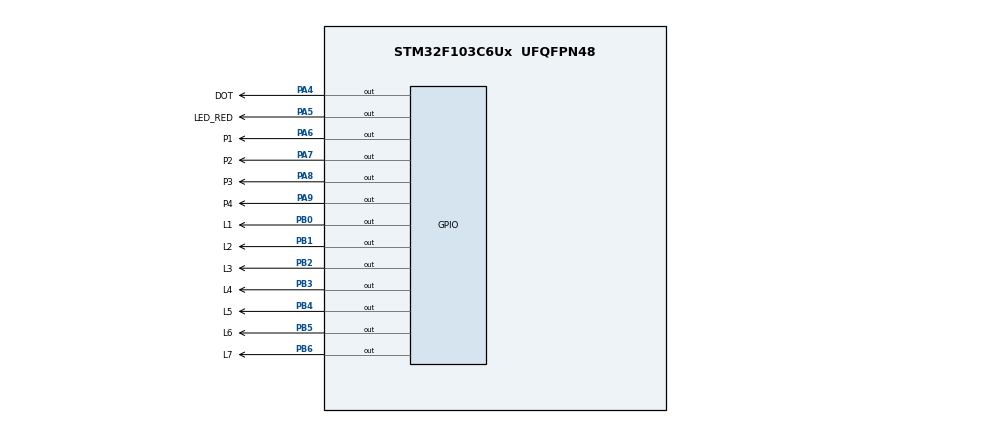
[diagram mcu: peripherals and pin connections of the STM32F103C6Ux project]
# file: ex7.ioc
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Mcu.Family=STM32F1
Mcu.Name=STM32F103C6Ux
Mcu.Package=UFQFPN48
NVIC.PriorityGroup=NVIC_PRIORITYGROUP_4
NVIC.TIM2_IRQn=true\:0\:0\:false\:false\:true\:true\:true
PA4.GPIO_Label=DOT
PA4.Signal=GPIO_Output
PA5.GPIO_Label=LED_RED
PA5.Signal=GPIO_Output
PA6.GPIO_Label=P1
PA6.Signal=GPIO_Output
PA7.GPIO_Label=P2
PA7.Signal=GPIO_Output
PA8.GPIO_Label=P3
PA8.Signal=GPIO_Output
PA9.GPIO_Label=P4
PA9.Signal=GPIO_Output
PB0.GPIO_Label=L1
PB0.Signal=GPIO_Output
PB1.GPIO_Label=L2
PB1.Signal=GPIO_Output
PB2.GPIO_Label=L3
PB2.Signal=GPIO_Output
PB3.GPIO_Label=L4
PB3.Signal=GPIO_Output
PB4.GPIO_Label=L5
PB4.Signal=GPIO_Output
PB5.GPIO_Label=L6
PB5.Signal=GPIO_Output
PB6.GPIO_Label=L7
PB6.Signal=GPIO_Output
ProjectManager.HeapSize=0x200
ProjectManager.StackSize=0x400
ProjectManager.TargetToolchain=STM32CubeIDE
RCC.APB1Freq_Value=8000000
RCC.APB2Freq_Value=8000000
TIM2.Period=9
TIM2.Prescaler=7999
VP_SYS_VS_ND.Mode=No_Debug
VP_TIM2_VS_ClockSourceINT.Mode=Internal
board=custom

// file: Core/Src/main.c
/* USER CODE BEGIN Header */
/**
  ******************************************************************************
  * @file           : main.c
  * @brief          : Main program body
  ******************************************************************************
  * @attention
  *
  * <h2><center>&copy; Copyright (c) 2022 STMicroelectronics.
  * All rights reserved.</center></h2>
  *
  * This software component is licensed by ST under BSD 3-Clause license,
  * the "License"; You may not use this file except in compliance with the
  * License. You may obtain a copy of the License at:
  *                        opensource.org/licenses/BSD-3-Clause
  *
  ******************************************************************************
  */
/* USER CODE END Header */
#include "main.h"

/* USER CODE BEGIN Includes */
#include "software_timer.h"
/* USER CODE END Includes */

TIM_HandleTypeDef htim2;

void SystemClock_Config(void);
static void MX_GPIO_Init(void);
static void MX_TIM2_Init(void);

/* USER CODE BEGIN 0 */
/* USER CODE BEGIN 0 */
void display7SEG(int num){
  	  HAL_GPIO_WritePin( L1_GPIO_Port , L1_Pin ,GPIO_PIN_SET );
  	  HAL_GPIO_WritePin( L2_GPIO_Port , L2_Pin ,GPIO_PIN_SET );
  	  HAL_GPIO_WritePin( L3_GPIO_Port , L3_Pin ,GPIO_PIN_SET );
  	  HAL_GPIO_WritePin( L4_GPIO_Port , L4_Pin ,GPIO_PIN_SET );
  	  HAL_GPIO_WritePin( L5_GPIO_Port , L5_Pin ,GPIO_PIN_SET );
  	  HAL_GPIO_WritePin( L6_GPIO_Port , L6_Pin ,GPIO_PIN_SET );
  	  HAL_GPIO_WritePin( L7_GPIO_Port , L7_Pin ,GPIO_PIN_SET );
  	  if(num<=0){
  		  HAL_GPIO_WritePin( L1_GPIO_Port , L1_Pin ,GPIO_PIN_RESET );
  		  HAL_GPIO_WritePin( L2_GPIO_Port , L2_Pin ,GPIO_PIN_RESET );
  		  HAL_GPIO_WritePin( L3_GPIO_Port , L3_Pin ,GPIO_PIN_RESET );
  		  HAL_GPIO_WritePin( L4_GPIO_Port , L4_Pin ,GPIO_PIN_RESET );
  		  HAL_GPIO_WritePin( L5_GPIO_Port , L5_Pin ,GPIO_PIN_RESET );
  		  HAL_GPIO_WritePin( L6_GPIO_Port , L6_Pin ,GPIO_PIN_RESET );
  	  }
  	  else if(num==1){
  		  HAL_GPIO_WritePin( L2_GPIO_Port , L2_Pin ,GPIO_PIN_RESET );
  		  HAL_GPIO_WritePin( L3_GPIO_Port , L3_Pin ,GPIO_PIN_RESET );
  	  }
  	  else if(num==2){
  		  HAL_GPIO_WritePin( L1_GPIO_Port , L1_Pin ,GPIO_PIN_RESET );
  		  HAL_GPIO_WritePin( L2_GPIO_Port , L2_Pin ,GPIO_PIN_RESET );
  		  HAL_GPIO_WritePin( L4_GPIO_Port , L4_Pin ,GPIO_PIN_RESET );
  		  HAL_GPIO_WritePin( L5_GPIO_Port , L5_Pin ,GPIO_PIN_RESET );
  		  HAL_GPIO_WritePin( L7_GPIO_Port , L7_Pin ,GPIO_PIN_RESET );
  	  }
  	  else if(num==3){
  		  HAL_GPIO_WritePin( L1_GPIO_Port , L1_Pin ,GPIO_PIN_RESET );
  		  HAL_GPIO_WritePin( L2_GPIO_Port , L2_Pin ,GPIO_PIN_RESET );
  		  HAL_GPIO_WritePin( L3_GPIO_Port , L3_Pin ,GPIO_PIN_RESET );
  		  HAL_GPIO_WritePin( L4_GPIO_Port , L4_Pin ,GPIO_PIN_RESET );
  		  HAL_GPIO_WritePin( L7_GPIO_Port , L7_Pin ,GPIO_PIN_RESET );
  	  }
  	  else if(num==4){
  		  HAL_GPIO_WritePin( L2_GPIO_Port , L2_Pin ,GPIO_PIN_RESET );
  		  HAL_GPIO_WritePin( L3_GPIO_Port , L3_Pin ,GPIO_PIN_RESET );
  		  HAL_GPIO_WritePin( L6_GPIO_Port , L6_Pin ,GPIO_PIN_RESET );
  		  HAL_GPIO_WritePin( L7_GPIO_Port , L7_Pin ,GPIO_PIN_RESET );
  	  }
  	  else if(num==5){
  		  HAL_GPIO_WritePin( L1_GPIO_Port , L1_Pin ,GPIO_PIN_RESET );
  		  HAL_GPIO_WritePin( L3_GPIO_Port , L3_Pin ,GPIO_PIN_RESET );
  		  HAL_GPIO_WritePin( L4_GPIO_Port , L4_Pin ,GPIO_PIN_RESET );
  		  HAL_GPIO_WritePin( L6_GPIO_Port , L6_Pin ,GPIO_PIN_RESET );
  		  HAL_GPIO_WritePin( L7_GPIO_Port , L7_Pin ,GPIO_PIN_RESET );
  	  }
  	  else if(num==6){
  		  HAL_GPIO_WritePin( L1_GPIO_Port , L1_Pin ,GPIO_PIN_RESET );
  		  HAL_GPIO_WritePin( L3_GPIO_Port , L3_Pin ,GPIO_PIN_RESET );
  		  HAL_GPIO_WritePin( L4_GPIO_Port , L4_Pin ,GPIO_PIN_RESET );
  		  HAL_GPIO_WritePin( L5_GPIO_Port , L5_Pin ,GPIO_PIN_RESET );
  		  HAL_GPIO_WritePin( L6_GPIO_Port , L6_Pin ,GPIO_PIN_RESET );
  		  HAL_GPIO_WritePin( L7_GPIO_Port , L7_Pin ,GPIO_PIN_RESET );
  	  }
  	  else if(num==7){
  		  HAL_GPIO_WritePin( L1_GPIO_Port , L1_Pin ,GPIO_PIN_RESET );
  		  HAL_GPIO_WritePin( L2_GPIO_Port , L2_Pin ,GPIO_PIN_RESET );
  		  HAL_GPIO_WritePin( L3_GPIO_Port , L3_Pin ,GPIO_PIN_RESET );
  	  }
  	  else if(num==8){
  		  HAL_GPIO_WritePin( L1_GPIO_Port , L1_Pin ,GPIO_PIN_RESET );
  		  HAL_GPIO_WritePin( L2_GPIO_Port , L2_Pin ,GPIO_PIN_RESET );
  		  HAL_GPIO_WritePin( L3_GPIO_Port , L3_Pin ,GPIO_PIN_RESET );
  		  HAL_GPIO_WritePin( L4_GPIO_Port , L4_Pin ,GPIO_PIN_RESET );
  		  HAL_GPIO_WritePin( L5_GPIO_Port , L5_Pin ,GPIO_PIN_RESET );
  		  HAL_GPIO_WritePin( L6_GPIO_Port , L6_Pin ,GPIO_PIN_RESET );
  		  HAL_GPIO_WritePin( L7_GPIO_Port , L7_Pin ,GPIO_PIN_RESET );
  	  }
  	  else if(num==9){
  		  HAL_GPIO_WritePin( L1_GPIO_Port , L1_Pin ,GPIO_PIN_RESET );
  		  HAL_GPIO_WritePin( L2_GPIO_Port , L2_Pin ,GPIO_PIN_RESET );
  		  HAL_GPIO_WritePin( L3_GPIO_Port , L3_Pin ,GPIO_PIN_RESET );
  		  HAL_GPIO_WritePin( L4_GPIO_Port , L4_Pin ,GPIO_PIN_RESET );
  		  HAL_GPIO_WritePin( L6_GPIO_Port , L6_Pin ,GPIO_PIN_RESET );
  		  HAL_GPIO_WritePin( L7_GPIO_Port , L7_Pin ,GPIO_PIN_RESET );
  	  }
    }

const int MAX_LED = 4;
int index_led = 0;
int led_buffer [4] = {1 , 2 , 3 , 4};
int hour = 15 , minute = 4 , second = 50;

void update7SEG (int index) {
	switch (index) {
	 	 case 0:
	 		 // Display the first 7 SEG with led_buffer [0]
			 HAL_GPIO_WritePin(P2_GPIO_Port, P2_Pin, GPIO_PIN_SET);
			 HAL_GPIO_WritePin(P3_GPIO_Port, P3_Pin, GPIO_PIN_SET);
			 HAL_GPIO_WritePin(P4_GPIO_Port, P4_Pin, GPIO_PIN_SET);
			 HAL_GPIO_WritePin(P1_GPIO_Port, P1_Pin, GPIO_PIN_RESET);
			 if(led_buffer[0] <= 9 && led_buffer[0] >= 0)
			 display7SEG(led_buffer[0]);
	 		 break;
	 	 case 1:
	 		 // Display the second 7 SEG with led_buffer [1]
			 HAL_GPIO_WritePin(P1_GPIO_Port, P1_Pin, GPIO_PIN_SET);
			 HAL_GPIO_WritePin(P3_GPIO_Port, P3_Pin, GPIO_PIN_SET);
			 HAL_GPIO_WritePin(P4_GPIO_Port, P4_Pin, GPIO_PIN_SET);
			 HAL_GPIO_WritePin(P2_GPIO_Port, P2_Pin, GPIO_PIN_RESET);
			 if(led_buffer[1] <= 9 && led_buffer[1] >= 0)
			 display7SEG(led_buffer[1]);
	 		 break;
	 	 case 2:
	 		 // Display the third 7 SEG with led_buffer [2]
			 HAL_GPIO_WritePin(P2_GPIO_Port, P2_Pin, GPIO_PIN_SET);
			 HAL_GPIO_WritePin(P1_GPIO_Port, P1_Pin, GPIO_PIN_SET);
			 HAL_GPIO_WritePin(P4_GPIO_Port, P4_Pin, GPIO_PIN_SET);
			 HAL_GPIO_WritePin(P3_GPIO_Port, P3_Pin, GPIO_PIN_RESET);
			 if(led_buffer[2] <= 9 && led_buffer[2] >= 0)
			 display7SEG(led_buffer[2]);
	 		 break ;
	 	 case 3:
	 		 // Display the forth 7 SEG with led_buffer [3]
			 HAL_GPIO_WritePin(P2_GPIO_Port, P2_Pin, GPIO_PIN_SET);
			 HAL_GPIO_WritePin(P3_GPIO_Port, P3_Pin, GPIO_PIN_SET);
			 HAL_GPIO_WritePin(P1_GPIO_Port, P1_Pin, GPIO_PIN_SET);
			 HAL_GPIO_WritePin(P4_GPIO_Port, P4_Pin, GPIO_PIN_RESET);
			 if(led_buffer[3] <= 9 && led_buffer[3] >= 0)
				 display7SEG(led_buffer[3]);
	 		 break;
	 	 default :
			 display7SEG(8);
	 		 break;
	 }
 }

void updateClockBuffer(){
	led_buffer[0] = hour / 10;
	led_buffer[1] = hour % 10;
	led_buffer[2] = minute / 10;
	if((minute % 10) <= 9 && (minute % 10) >= 0)
		led_buffer[3] = minute % 10;
}

/* USER CODE END 0 */

int main(void)
{

  /* MCU Configuration--------------------------------------------------------*/

  /* Reset of all peripherals, Initializes the Flash interface and the Systick. */
  HAL_Init();

  /* Configure the system clock */
  SystemClock_Config();

  /* Initialize all configured peripherals */
  MX_GPIO_Init();
  MX_TIM2_Init();
  /* USER CODE BEGIN 2 */
  HAL_TIM_Base_Start_IT (&htim2);
  /* USER CODE END 2 */

  /* Infinite loop */
  /* USER CODE BEGIN WHILE */

  int ledIndex = 0;
  updateClockBuffer();
  HAL_GPIO_WritePin(LED_RED_GPIO_Port, LED_RED_Pin, RESET);
  HAL_GPIO_WritePin(DOT_GPIO_Port, DOT_Pin, RESET);
  setTimer1(25);
  setTimer2(100);
//	setTimer3(10);
	 while (1) {
		 if(timer1_flag == 1){
		 		  setTimer1(25);
		 		  HAL_GPIO_TogglePin(LED_RED_GPIO_Port, LED_RED_Pin);
		 		  update7SEG(ledIndex);
		 		  ledIndex++;
		 		  if(ledIndex > 3)
		 			  	  ledIndex = 0;
		 	  }
		 	  if(timer2_flag == 1){
		 		  setTimer2(100);
		 		  second ++;
		 		  if ( second >= 60) {
					  second = 0;
					  minute ++;
		 		  }
		 		  if( minute >= 60) {
					  minute = 0;
					  hour ++;
		 		  }
		 		  if( hour >=24) {
					  hour = 0;
		 		  }
		 		  updateClockBuffer();
		 		  HAL_GPIO_TogglePin(DOT_GPIO_Port, DOT_Pin);
		 	  }
	 }
  /* USER CODE END 3 */
}

void SystemClock_Config(void)
{
  RCC_OscInitTypeDef RCC_OscInitStruct = {0};
  RCC_ClkInitTypeDef RCC_ClkInitStruct = {0};

  /** Initializes the RCC Oscillators according to the specified parameters
  * in the RCC_OscInitTypeDef structure.
  */
  RCC_OscInitStruct.OscillatorType = RCC_OSCILLATORTYPE_HSI;
  RCC_OscInitStruct.HSIState = RCC_HSI_ON;
  RCC_OscInitStruct.HSICalibrationValue = RCC_HSICALIBRATION_DEFAULT;
  RCC_OscInitStruct.PLL.PLLState = RCC_PLL_NONE;
  if (HAL_RCC_OscConfig(&RCC_OscInitStruct) != HAL_OK)
  {
    Error_Handler();
  }
  /** Initializes the CPU, AHB and APB buses clocks
  */
  RCC_ClkInitStruct.ClockType = RCC_CLOCKTYPE_HCLK|RCC_CLOCKTYPE_SYSCLK
                              |RCC_CLOCKTYPE_PCLK1|RCC_CLOCKTYPE_PCLK2;
  RCC_ClkInitStruct.SYSCLKSource = RCC_SYSCLKSOURCE_HSI;
  RCC_ClkInitStruct.AHBCLKDivider = RCC_SYSCLK_DIV1;
  RCC_ClkInitStruct.APB1CLKDivider = RCC_HCLK_DIV1;
  RCC_ClkInitStruct.APB2CLKDivider = RCC_HCLK_DIV1;

  if (HAL_RCC_ClockConfig(&RCC_ClkInitStruct, FLASH_LATENCY_0) != HAL_OK)
  {
    Error_Handler();
  }
}

static void MX_TIM2_Init(void)
{

  TIM_ClockConfigTypeDef sClockSourceConfig = {0};
  TIM_MasterConfigTypeDef sMasterConfig = {0};

  htim2.Instance = TIM2;
  htim2.Init.Prescaler = 7999;
  htim2.Init.CounterMode = TIM_COUNTERMODE_UP;
  htim2.Init.Period = 9;
  htim2.Init.ClockDivision = TIM_CLOCKDIVISION_DIV1;
  htim2.Init.AutoReloadPreload = TIM_AUTORELOAD_PRELOAD_DISABLE;
  if (HAL_TIM_Base_Init(&htim2) != HAL_OK)
  {
    Error_Handler();
  }
  sClockSourceConfig.ClockSource = TIM_CLOCKSOURCE_INTERNAL;
  if (HAL_TIM_ConfigClockSource(&htim2, &sClockSourceConfig) != HAL_OK)
  {
    Error_Handler();
  }
  sMasterConfig.MasterOutputTrigger = TIM_TRGO_RESET;
  sMasterConfig.MasterSlaveMode = TIM_MASTERSLAVEMODE_DISABLE;
  if (HAL_TIMEx_MasterConfigSynchronization(&htim2, &sMasterConfig) != HAL_OK)
  {
    Error_Handler();
  }

}

static void MX_GPIO_Init(void)
{
  GPIO_InitTypeDef GPIO_InitStruct = {0};

  /* GPIO Ports Clock Enable */
  __HAL_RCC_GPIOA_CLK_ENABLE();
  __HAL_RCC_GPIOB_CLK_ENABLE();

  /*Configure GPIO pin Output Level */
  HAL_GPIO_WritePin(GPIOA, DOT_Pin|LED_RED_Pin|P1_Pin|P2_Pin
                          |P3_Pin|P4_Pin, GPIO_PIN_RESET);

  /*Configure GPIO pin Output Level */
  HAL_GPIO_WritePin(GPIOB, L1_Pin|L2_Pin|L3_Pin|L4_Pin
                          |L5_Pin|L6_Pin|L7_Pin, GPIO_PIN_RESET);

  /*Configure GPIO pins : DOT_Pin LED_RED_Pin P1_Pin P2_Pin
                           P3_Pin P4_Pin */
  GPIO_InitStruct.Pin = DOT_Pin|LED_RED_Pin|P1_Pin|P2_Pin
                          |P3_Pin|P4_Pin;
  GPIO_InitStruct.Mode = GPIO_MODE_OUTPUT_PP;
  GPIO_InitStruct.Pull = GPIO_NOPULL;
  GPIO_InitStruct.Speed = GPIO_SPEED_FREQ_LOW;
  HAL_GPIO_Init(GPIOA, &GPIO_InitStruct);

  /*Configure GPIO pins : L1_Pin L2_Pin L3_Pin L4_Pin
                           L5_Pin L6_Pin L7_Pin */
  GPIO_InitStruct.Pin = L1_Pin|L2_Pin|L3_Pin|L4_Pin
                          |L5_Pin|L6_Pin|L7_Pin;
  GPIO_InitStruct.Mode = GPIO_MODE_OUTPUT_PP;
  GPIO_InitStruct.Pull = GPIO_NOPULL;
  GPIO_InitStruct.Speed = GPIO_SPEED_FREQ_LOW;
  HAL_GPIO_Init(GPIOB, &GPIO_InitStruct);

}

/* USER CODE BEGIN 4 */
void HAL_TIM_PeriodElapsedCallback ( TIM_HandleTypeDef* htim )
{
	timerRun();
}
/* USER CODE END 4 */

void Error_Handler(void)
{
  __disable_irq();
  while (1)
  {
  }
}

/************************ (C) COPYRIGHT STMicroelectronics *****END OF FILE****/
